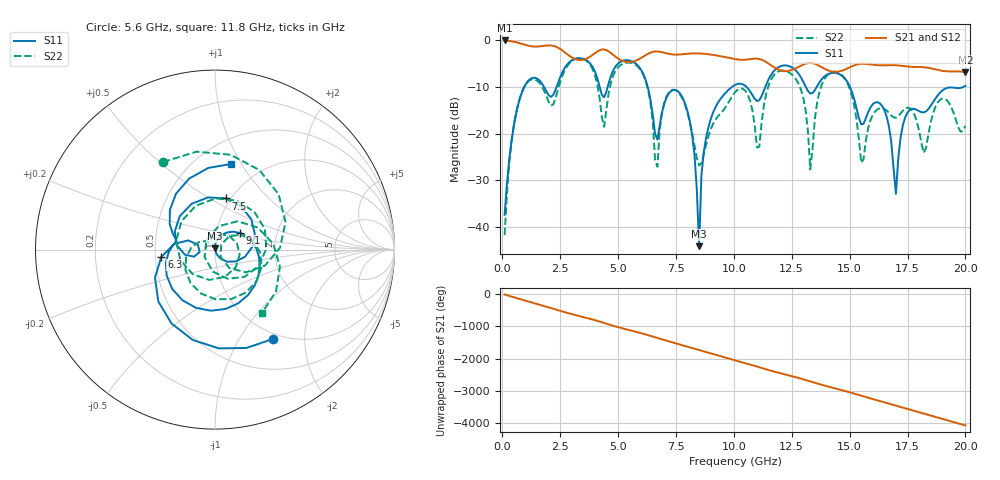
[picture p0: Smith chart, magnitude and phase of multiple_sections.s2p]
! Touchstone file exported from Ansys Full-Wave Spice
! Project: multiple_sections
!  Design: unknown
! Creation time: Tue Aug 11 13:46:26 2026
! Notes: Touchstone(R) file created by SIwave 2026 R1
!  : Touchstone(R) file created on Tue Aug 11 13:46:26 2026
!  : Design: Cell_2HO0ZW
!  : Path:
!  : *** SIwave SYZ Simulation Settings ***
!  : SI/PI Main
!  :  SI Simulation -  Balanced
!  : SI/PI Advanced
!  :  Coupling
!  :  Coplane: On
!  :  Intra-plane: Off
!  :  Split-plane: On
!  :  Cavity field: On
!  :  Trace: On
!  :  Cross-talk threshold: -34dB
!  :  Max. coupled lines: 12
!  :  Geometry Processing
!  :  Void area threshold: 2mm^2
!  :  Pad area threshold: 3.712mm^2
!  :  Planes area threshold: 3.364E-05mm^2
!  :  Vertex snap distance threshold: 0.0025mm
!  :  Mesh Refinement
!  :  Auto
!  :  AC/DC Merge
!  :  Default
!  :  Trace return current distribution: Off
!  :  Include voltage/current source parasitics: No
!  :  Add infinite ground plane: No
!  :  Exclude non-functional pads: Yes
!  : Temperature
!  :  Uniform distribution: 20cel
!  : Net Processing
!  :  Auto select nets
!  : S-parameter Modeling
!  :  State Space Model
!  : Sweep
!  :  Name: TDR_VALIDATION_multiple_sections
!  :  AC/DC Merge: Off
!  :  Discrete Sweep
!  :  Frequency Point Distribution:
!  :  Linear Step: 1E+08Hz -> 2E+10Hz 1E+08Hz step
!  :  Enforce Causality: Yes
!  :  Enforce Passivity: Yes
!  :  Q3D Regions: Off
!  :  HFSS Regions: Off
! Modal data exported
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# HZ S RI R 50
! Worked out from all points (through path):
!   200 points, 100 MHz to 20 GHz, reference 50 ohm
!   highest |S21| = -0.08 dB at 100 MHz (marker M1); lowest = -6.9 dB at 20 GHz (marker M2)
!   group delay of S21, straight-line fit = 563 ps
!   lowest |S11| = -44.1 dB at 8.5 GHz (marker M3), VSWR 1.01, Z = 49.9 + j0.623 ohm
!   |S11| at or under -10 dB: start of sweep to 953.9 MHz; 6.277 GHz to 9.924 GHz (3.647 GHz wide, 45 % of centre); 15.01 GHz to 19.92 GHz (4.91 GHz wide, 28.1 % of centre)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
!   |S22| runs from -41.7 to -3.9 dB; largest |S21 - S12| = 0
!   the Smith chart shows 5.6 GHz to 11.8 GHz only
!   S11 on the Smith chart (normalised r, x): 5.6 GHz: 0.91, -1.41; 6.3 GHz: 0.54, -0.05; 7.5 GHz: 0.95, +0.59; 9.1 GHz: 1.30, +0.25; 11.8 GHz: 0.72, +0.90
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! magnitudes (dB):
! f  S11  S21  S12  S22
! 100 MHz  -37.4  -0.1  -0.1  -41.7
! 900 MHz  -10.5  -0.9  -0.9  -10.5
! 3.5 GHz  -4.0  -4.2  -4.2  -4.0
! 4.4 GHz  -12.2  -2.0  -2.0  -18.6
! 5.6 GHz  -4.5  -4.7  -4.7  -4.9
! 6.3 GHz  -10.4  -2.9  -2.9  -10.7
! 6.8 GHz  -18.2  -2.5  -2.5  -19.2
! 7.5 GHz  -10.7  -3.1  -3.1  -10.7
! 8.2 GHz  -20.3  -2.9  -2.9  -19.8
! 8.5 GHz  -44.1  -2.9  -2.9  -26.8
! 8.7 GHz  -24.0  -2.9  -2.9  -24.4
! 9.1 GHz  -15.5  -3.2  -3.2  -17.9
! 10.1 GHz  -9.5  -4.1  -4.1  -10.9
! 11.1 GHz  -12.9  -4.0  -4.0  -22.8
! 11.8 GHz  -6.3  -6.0  -6.0  -7.1
! 13.4 GHz  -11.3  -4.9  -4.9  -23.1
! 14.2 GHz  -7.1  -6.7  -6.7  -6.9
! 15.5 GHz  -18.0  -5.1  -5.1  -26.2
! 16.7 GHz  -18.5  -5.4  -5.4  -15.6
! 17 GHz  -32.9  -5.4  -5.4  -16.6
! 17.5 GHz  -15.5  -5.7  -5.7  -14.5
! 20 GHz  -9.8  -6.9  -6.9  -18.3
